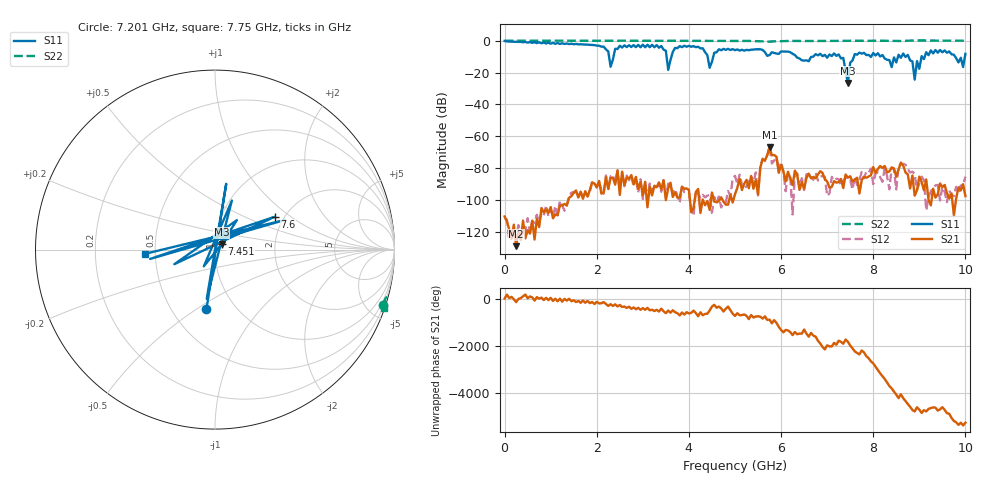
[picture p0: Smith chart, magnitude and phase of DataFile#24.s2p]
! MS46122B
! 2032304/20262023
! 4/29/2022 5:36:49 AM
! C:\USERS\ENTUPLE\DOCUMENTS\BT20ECE001-23\DATAFILE#24.S2P
! CHANNEL.1
! TR.MEASUREMENT
! RAW.DATA
# GHZ S RI R 50.0
! FREQ.GHZ  S11RE  S11IM  S21RE  S21IM  S12RE  S12IM  S22RE  S22IM
!; PortSelection: Port_12
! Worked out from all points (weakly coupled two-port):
!   201 points, 2 MHz to 10 GHz, reference 50 ohm
!   highest |S21| = -66.89 dB at 5.751 GHz (marker M1); lowest = -128.9 dB at 251.9 MHz (marker M2)
!   lowest |S11| = -26.5 dB at 7.451 GHz (marker M3), VSWR 1.10, Z = 53.7 + j3.22 ohm
!   |S11| at or under -10 dB: 6.331 GHz to 6.694 GHz (362.9 MHz wide, 5.57 % of centre); 7.278 GHz to 7.58 GHz (302.3 MHz wide, 4.07 % of centre); 8.223 GHz to 8.538 GHz (314.9 MHz wide, 3.76 % of centre) (the widest 3 of 13)
!   |S22| runs from -0.6 to 0.2 dB; largest |S21 - S12| = 0.00015
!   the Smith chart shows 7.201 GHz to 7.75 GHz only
!   S11 on the Smith chart (normalised r, x): 7.201 GHz: 0.74, -0.55; 7.451 GHz: 1.07, +0.06; 7.6 GHz: 1.79, +0.76; 7.75 GHz: 0.44, -0.02
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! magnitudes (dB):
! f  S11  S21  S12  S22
! 2 MHz  -0.2  -110.2  -111.6  0.0
! 251.9 MHz  -0.6  -128.9  -124.0  0.0
! 1.702 GHz  -2.3  -99.1  -97.8  0.0
! 2.302 GHz  -16.3  -86.0  -85.0  0.0
! 2.502 GHz  -3.2  -96.7  -91.9  0.0
! 3.351 GHz  -4.4  -88.9  -89.0  -0.1
! 3.551 GHz  -18.3  -92.5  -89.6  0.0
! 3.801 GHz  -3.4  -98.4  -101.7  -0.1
! 4.451 GHz  -17.0  -106.1  -96.8  -0.1
! 5.001 GHz  -5.9  -96.3  -84.7  -0.2
! 5.751 GHz  -9.0  -66.9  -66.3  -0.5
! 5.951 GHz  -8.2  -82.8  -81.7  -0.3
! 6.701 GHz  -10.0  -85.5  -87.2  -0.1
! 7.201 GHz  -9.5  -89.0  -86.6  -0.1
! 7.451 GHz  -26.5  -85.9  -87.4  -0.1
! 7.6 GHz  -8.4  -87.1  -85.2  -0.1
! 7.75 GHz  -8.1  -87.3  -82.3  -0.1
! 8.35 GHz  -12.1  -82.0  -93.2  -0.1
! 8.75 GHz  -8.9  -83.8  -80.4  0.0
! 8.9 GHz  -24.4  -97.2  -83.5  0.1
! 9.15 GHz  -7.2  -87.1  -106.4  0.1
! 10 GHz  -8.2  -97.4  -85.2  0.0
